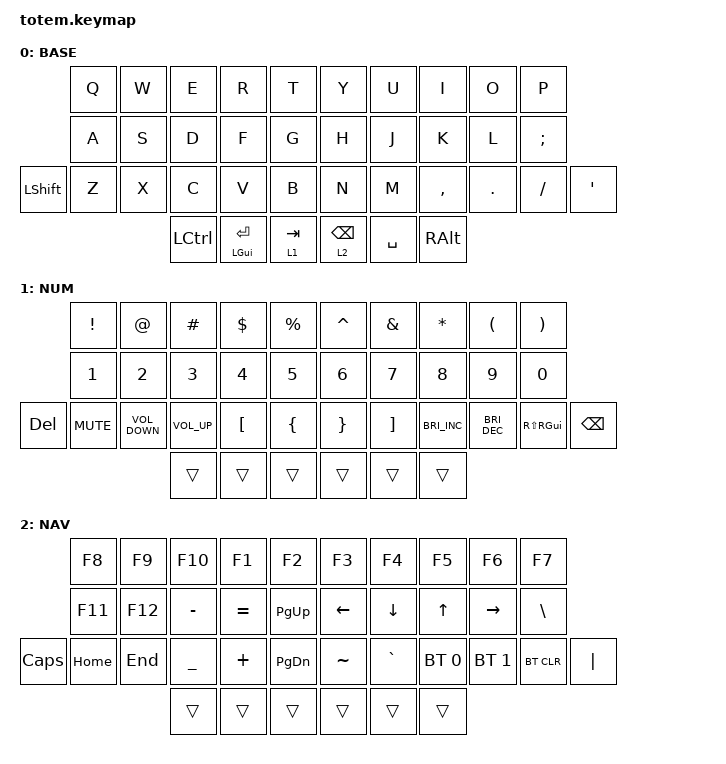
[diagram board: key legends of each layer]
//
//                                                        ▀▀▀▀▀     ▀▀▀▀▀          ▀▀█▀▀
//                                                        ▄▀▀▀▄  ▄  ▄▀▀▀▄  ▄  ▄▀▀▀▄  █  ▄▀▀▀▄
//                                                        █   █  █  █   █  █  █   █  █  █   █
//                                                         ▀▀▀   █   ▀▀▀   █   ▀▀▀   ▀   ▀▀▀
//                                                               █      ▄▄▄█▄▄▄    █   █  
//                                                               ▀      █  █  █     █▄█
//                                                             ▀▀▀▀▀    █  █  █      ▀
//                                                                      ▀  ▀  ▀
//
// ▄▄▄▄▄▄▄▄▄▄▄▄▄▄▄▄▄▄▄▄▄▄▄▄▄▄▄▄▄▄▄▄▄▄▄▄▄▄▄▄▄▄▄▄▄▄▄▄▄▄▄▄▄▄▄▄▄▄▄▄▄▄▄▄▄▄▄▄▄▄▄▄▄▄▄▄▄▄▄▄▄▄▄▄▄▄▄▄▄▄▄▄▄▄▄▄▄▄▄▄▄▄▄▄▄▄▄▄▄▄▄▄▄▄▄▄▄▄▄▄▄▄▄▄▄▄▄▄▄▄▄▄▄▄▄▄▄▄▄▄▄▄▄▄▄▄▄▄▄

#include <behaviors.dtsi>
#include <dt-bindings/zmk/bt.h>
#include <dt-bindings/zmk/keys.h>

#define BASE 0
#define NAV  1
#define SYM  2
#define ADJ  3
#define TVP1 4
#define TVP2 5

&mt {
    quick-tap-ms = <100>;
    global-quick-tap;
    flavor = "tap-preferred";
    tapping-term-ms = <170>;
};

/ {
    combos {
        compatible = "zmk,combos";

        combo_esc {
            timeout-ms = <50>;
            key-positions = <0 1>;
            bindings = <&kp ESC>;
        };
    };

    macros {
        gif: gif {
            label = "giphy";
            compatible = "zmk,behavior-macro";
            #binding-cells = <0>;
            bindings =
                <&macro_press>,
                <&kp LSHFT>,
                <&macro_tap>,
                <&kp N2>,
                <&macro_release>,
                <&kp LSHFT>,
                <&macro_tap>,
                <&kp G &kp I &kp F>;
        };
    };

    keymap {
        compatible = "zmk,keymap";

        // ▄▄▄▄▄▄▄▄▄▄▄▄▄▄▄▄▄▄▄▄▄▄▄▄▄▄▄▄▄▄▄▄▄▄▄▄▄▄▄▄▄▄▄▄▄▄▄▄▄▄▄▄▄▄▄▄▄▄▄▄▄▄▄▄▄▄▄▄▄▄▄▄▄▄▄▄▄▄▄▄▄▄▄▄▄▄▄▄▄▄▄▄▄▄▄▄▄▄▄▄▄▄▄▄▄▄▄▄▄▄▄▄▄▄▄▄▄▄▄▄▄▄▄▄▄▄▄▄▄▄▄▄▄▄▄▄▄▄▄▄▄▄▄▄▄▄▄▄▄

        base_layer {
            // ┏━━━━━━━━━━━━━━━━━━━━━━━━━━━━━━━━━━━━━━━┓

            label = "BASE";

            // ┗━━━━━━━━━━━━━━━━━━━━━━━━━━━━━━━━━━━━━━━┛
            //             ┏━━━━━━━━━━━┳━━━━━━━━━━━┳━━━━━━━━━━━┳━━━━━━━━━━━┳━━━━━━━━━━━┓   ┏━━━━━━━━━━━┳━━━━━━━━━━━┳━━━━━━━━━━━┳━━━━━━━━━━━┳━━━━━━━━━━━┓
            //             ┃     Q     ┃     W     ┃     F     ┃     P     ┃     G     ┃   ┃     J     ┃     L     ┃     U     ┃     Y     ┃     ;     ┃
            //             ┣━━━━━━━━━━━╋━━━━━━━━━━━╋━━━━━━━━━━━╋━━━━━━━━━━━╋━━━━━━━━━━━┫   ┣━━━━━━━━━━━╋━━━━━━━━━━━╋━━━━━━━━━━━╋━━━━━━━━━━━╋━━━━━━━━━━━┫
            //             ┃     A     ┃     R     ┃     S     ┃     T     ┃     D     ┃   ┃     H     ┃     N     ┃     E     ┃     I     ┃     O     ┃
            // ┏━━━━━━━━━━━╋━━━━━━━━━━━╋━━━━━━━━━━━╋━━━━━━━━━━━╋━━━━━━━━━━━╋━━━━━━━━━━━┫   ┣━━━━━━━━━━━╋━━━━━━━━━━━╋━━━━━━━━━━━╋━━━━━━━━━━━╋━━━━━━━━━━━╋━━━━━━━━━━━┓
            // ┃     Q     ┃     Z     ┃     X     ┃     C     ┃     V     ┃     B     ┃   ┃     K     ┃     M     ┃     ,     ┃     .     ┃     /     ┃     \     ┃
            // ┗━━━━━━━━━━━┻━━━━━━━━━━━┻━━━━━━━━━━━╋━━━━━━━━━━━╋━━━━━━━━━━━╋━━━━━━━━━━━┫   ┣━━━━━━━━━━━╋━━━━━━━━━━━╋━━━━━━━━━━━╋━━━━━━━━━━━┻━━━━━━━━━━━┻━━━━━━━━━━━┛
            //                                     ┃    DEL    ┃    TAB    ┃    SPC    ┃   ┃   ENTER   ┃           ┃   BSPC    ┃
            //                                     ┗━━━━━━━━━━━┻━━━━━━━━━━━┻━━━━━━━━━━━┛   ┗━━━━━━━━━━━┻━━━━━━━━━━━┻━━━━━━━━━━━┛

            bindings = <
                &kp Q  &kp W  &kp E      &kp R               &kp T        &kp Y            &kp U      &kp I          &kp O    &kp P
                &kp A  &kp S  &kp D      &kp F               &kp G        &kp H            &kp J      &kp K          &kp L    &kp SEMICOLON
&kp LEFT_SHIFT  &kp Z  &kp X  &kp C      &kp V               &kp B        &kp N            &kp M      &kp COMMA      &kp DOT  &kp FSLH       &kp SQT
                              &kp LCTRL  &mt LEFT_GUI ENTER  &lt 1 TAB    &lt 2 BACKSPACE  &kp SPACE  &kp RIGHT_ALT
            >;
        };

        // ▄▄▄▄▄▄▄▄▄▄▄▄▄▄▄▄▄▄▄▄▄▄▄▄▄▄▄▄▄▄▄▄▄▄▄▄▄▄▄▄▄▄▄▄▄▄▄▄▄▄▄▄▄▄▄▄▄▄▄▄▄▄▄▄▄▄▄▄▄▄▄▄▄▄▄▄▄▄▄▄▄▄▄▄▄▄▄▄▄▄▄▄▄▄▄▄▄▄▄▄▄▄▄▄▄▄▄▄▄▄▄▄▄▄▄▄▄▄▄▄▄▄▄▄▄▄▄▄▄▄▄▄▄▄▄▄▄▄▄▄▄▄▄▄▄▄▄▄▄

        num_layer {
            // ┏━━━━━━━━━━━━━━━━━━━━━━━━━━━━━━━━━━━━━━━┓

            label = "NUM";

            // ┗━━━━━━━━━━━━━━━━━━━━━━━━━━━━━━━━━━━━━━━┛
            //             ┏━━━━━━━━━━━┳━━━━━━━━━━━┳━━━━━━━━━━━┳━━━━━━━━━━━┳━━━━━━━━━━━┓   ┏━━━━━━━━━━━┳━━━━━━━━━━━┳━━━━━━━━━━━┳━━━━━━━━━━━┳━━━━━━━━━━━┓
            //             ┃           ┃           ┃     UP    ┃           ┃     {     ┃   ┃     }     ┃     7     ┃     8     ┃     9     ┃     +     ┃
            //             ┣━━━━━━━━━━━╋━━━━━━━━━━━╋━━━━━━━━━━━╋━━━━━━━━━━━╋━━━━━━━━━━━┫   ┣━━━━━━━━━━━╋━━━━━━━━━━━╋━━━━━━━━━━━╋━━━━━━━━━━━╋━━━━━━━━━━━┫
            //             ┃   SHIFT   ┃   LEFT    ┃    DOWN   ┃   RIGHT   ┃     [     ┃   ┃     ]     ┃     4     ┃     5     ┃     6     ┃     -     ┃
            // ┏━━━━━━━━━━━╋━━━━━━━━━━━╋━━━━━━━━━━━╋━━━━━━━━━━━╋━━━━━━━━━━━╋━━━━━━━━━━━┫   ┣━━━━━━━━━━━╋━━━━━━━━━━━╋━━━━━━━━━━━╋━━━━━━━━━━━╋━━━━━━━━━━━╋━━━━━━━━━━━┓
            // ┃           ┃           ┃   P UP    ┃  C LOCK   ┃  P DOWN   ┃     (     ┃   ┃     )     ┃     1     ┃     2     ┃     3     ┃     *     ┃           ┃
            // ┗━━━━━━━━━━━┻━━━━━━━━━━━┻━━━━━━━━━━━╋━━━━━━━━━━━╋━━━━━━━━━━━╋━━━━━━━━━━━┫   ┣━━━━━━━━━━━╋━━━━━━━━━━━╋━━━━━━━━━━━╋━━━━━━━━━━━┻━━━━━━━━━━━┻━━━━━━━━━━━┛
            //                                     ┃           ┃    TAB    ┃    SPC    ┃   ┃    DEL    ┃     0     ┃           ┃
            //                                     ┗━━━━━━━━━━━┻━━━━━━━━━━━┻━━━━━━━━━━━┛   ┗━━━━━━━━━━━┻━━━━━━━━━━━┻━━━━━━━━━━━┛

            bindings = <
         &kp EXCLAMATION  &kp AT_SIGN        &kp HASH         &kp DOLLAR        &kp PERCENT       &kp CARET        &kp AMPERSAND      &kp ASTERISK          &kp LEFT_PARENTHESIS  &kp RIGHT_PARENTHESIS
         &kp NUMBER_1     &kp NUMBER_2       &kp NUMBER_3     &kp NUMBER_4      &kp N5            &kp NUMBER_6     &kp N7             &kp N8                &kp N9                &kp N0
&kp DEL  &kp K_MUTE       &kp C_VOLUME_DOWN  &kp C_VOLUME_UP  &kp LEFT_BRACKET  &kp LEFT_BRACE    &kp RIGHT_BRACE  &kp RIGHT_BRACKET  &kp C_BRIGHTNESS_INC  &kp C_BRIGHTNESS_DEC  &kp RS(RIGHT_GUI)      &kp BACKSPACE
                                             &trans           &trans            &trans            &trans           &trans             &trans
            >;
        };

        // ▄▄▄▄▄▄▄▄▄▄▄▄▄▄▄▄▄▄▄▄▄▄▄▄▄▄▄▄▄▄▄▄▄▄▄▄▄▄▄▄▄▄▄▄▄▄▄▄▄▄▄▄▄▄▄▄▄▄▄▄▄▄▄▄▄▄▄▄▄▄▄▄▄▄▄▄▄▄▄▄▄▄▄▄▄▄▄▄▄▄▄▄▄▄▄▄▄▄▄▄▄▄▄▄▄▄▄▄▄▄▄▄▄▄▄▄▄▄▄▄▄▄▄▄▄▄▄▄▄▄▄▄▄▄▄▄▄▄▄▄▄▄▄▄▄▄▄▄▄

        nav_layer {
            // ┏━━━━━━━━━━━━━━━━━━━━━━━━━━━━━━━━━━━━━━━┓

            label = "NAV";

            // ┗━━━━━━━━━━━━━━━━━━━━━━━━━━━━━━━━━━━━━━━┛
            //             ┏━━━━━━━━━━━┳━━━━━━━━━━━┳━━━━━━━━━━━┳━━━━━━━━━━━┳━━━━━━━━━━━┓   ┏━━━━━━━━━━━┳━━━━━━━━━━━┳━━━━━━━━━━━┳━━━━━━━━━━━┳━━━━━━━━━━━┓
            //             ┃     !     ┃     @     ┃     #     ┃     $     ┃     %     ┃   ┃     ˆ     ┃     &     ┃     Ü     ┃     '     ┃     "     ┃
            //             ┣━━━━━━━━━━━╋━━━━━━━━━━━╋━━━━━━━━━━━╋━━━━━━━━━━━╋━━━━━━━━━━━┫   ┣━━━━━━━━━━━╋━━━━━━━━━━━╋━━━━━━━━━━━╋━━━━━━━━━━━╋━━━━━━━━━━━┫
            //             ┃     Ä     ┃           ┃    SZ     ┃           ┃           ┃   ┃   MUTE    ┃   YEN     ┃   EURO    ┃  POUND    ┃     Ö     ┃
            // ┏━━━━━━━━━━━╋━━━━━━━━━━━╋━━━━━━━━━━━╋━━━━━━━━━━━╋━━━━━━━━━━━╋━━━━━━━━━━━┫   ┣━━━━━━━━━━━╋━━━━━━━━━━━╋━━━━━━━━━━━╋━━━━━━━━━━━╋━━━━━━━━━━━╋━━━━━━━━━━━┓
            // ┃           ┃  EMAIL1   ┃  EMAIL2   ┃           ┃           ┃           ┃   ┃   VOL-    ┃   VOL+    ┃   LAST    ┃   NEXT    ┃     \     ┃           ┃
            // ┗━━━━━━━━━━━┻━━━━━━━━━━━┻━━━━━━━━━━━╋━━━━━━━━━━━╋━━━━━━━━━━━╋━━━━━━━━━━━┫   ┣━━━━━━━━━━━╋━━━━━━━━━━━╋━━━━━━━━━━━╋━━━━━━━━━━━┻━━━━━━━━━━━┻━━━━━━━━━━━┛
            //                                     ┃           ┃    GIF    ┃    ADJ    ┃   ┃           ┃           ┃           ┃
            //                                     ┗━━━━━━━━━━━┻━━━━━━━━━━━┻━━━━━━━━━━━┛   ┗━━━━━━━━━━━┻━━━━━━━━━━━┻━━━━━━━━━━━┛

            bindings = <
          &kp F8    &kp F9   &kp F10         &kp F1     &kp F2           &kp F3     &kp F4     &kp F5        &kp F6        &kp F7
          &kp F11   &kp F12  &kp MINUS       &kp EQUAL  &kp PAGE_UP      &kp LEFT   &kp DOWN   &kp UP_ARROW  &kp RIGHT     &kp BACKSLASH
&kp CAPS  &kp HOME  &kp END  &kp UNDERSCORE  &kp PLUS   &kp PAGE_DOWN    &kp TILDE  &kp GRAVE  &bt BT_SEL 0  &bt BT_SEL 1  &bt BT_CLR     &kp PIPE
                             &trans          &trans     &trans           &trans     &trans     &trans
            >;
        };

        // ▄▄▄▄▄▄▄▄▄▄▄▄▄▄▄▄▄▄▄▄▄▄▄▄▄▄▄▄▄▄▄▄▄▄▄▄▄▄▄▄▄▄▄▄▄▄▄▄▄▄▄▄▄▄▄▄▄▄▄▄▄▄▄▄▄▄▄▄▄▄▄▄▄▄▄▄▄▄▄▄▄▄▄▄▄▄▄▄▄▄▄▄▄▄▄▄▄▄▄▄▄▄▄▄▄▄▄▄▄▄▄▄▄▄▄▄▄▄▄▄▄▄▄▄▄▄▄▄▄▄▄▄▄▄▄▄▄▄▄▄▄▄▄▄▄▄▄▄▄
        // ▄▄▄▄▄▄▄▄▄▄▄▄▄▄▄▄▄▄▄▄▄▄▄▄▄▄▄▄▄▄▄▄▄▄▄▄▄▄▄▄▄▄▄▄▄▄▄▄▄▄▄▄▄▄▄▄▄▄▄▄▄▄▄▄▄▄▄▄▄▄▄▄▄▄▄▄▄▄▄▄▄▄▄▄▄▄▄▄▄▄▄▄▄▄▄▄▄▄▄▄▄▄▄▄▄▄▄▄▄▄▄▄▄▄▄▄▄▄▄▄▄▄▄▄▄▄▄▄▄▄▄▄▄▄▄▄▄▄▄▄▄▄▄▄▄▄▄▄▄
        // ▄▄▄▄▄▄▄▄▄▄▄▄▄▄▄▄▄▄▄▄▄▄▄▄▄▄▄▄▄▄▄▄▄▄▄▄▄▄▄▄▄▄▄▄▄▄▄▄▄▄▄▄▄▄▄▄▄▄▄▄▄▄▄▄▄▄▄▄▄▄▄▄▄▄▄▄▄▄▄▄▄▄▄▄▄▄▄▄▄▄▄▄▄▄▄▄▄▄▄▄▄▄▄▄▄▄▄▄▄▄▄▄▄▄▄▄▄▄▄▄▄▄▄▄▄▄▄▄▄▄▄▄▄▄▄▄▄▄▄▄▄▄▄▄▄▄▄▄▄
    };
};
